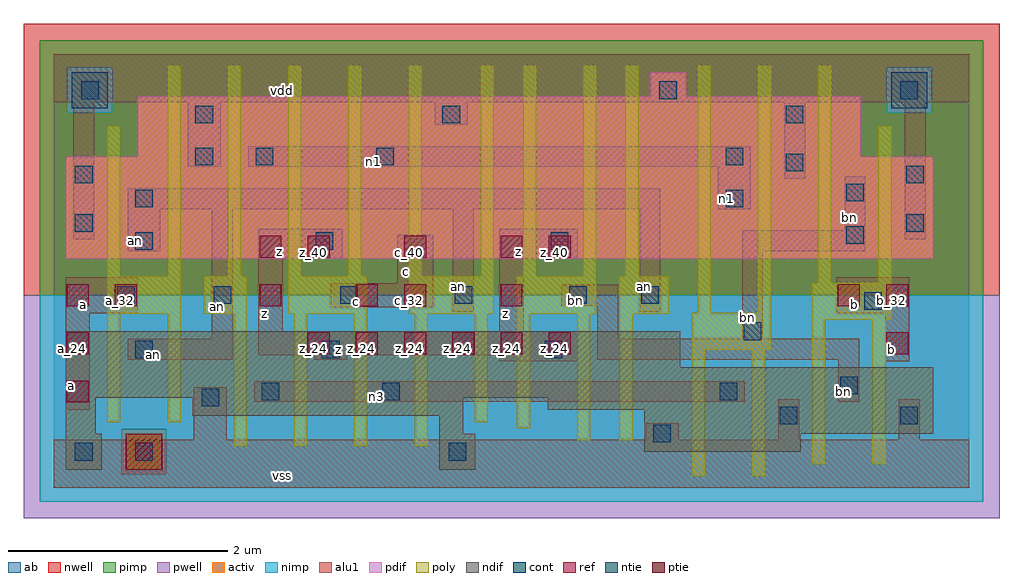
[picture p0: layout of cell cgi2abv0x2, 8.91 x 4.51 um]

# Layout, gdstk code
import gdstk
lib = gdstk.Library(unit=1e-6, precision=2.5e-09)
def R(c, l, rs):  # rectangles x0, y0, x1, y1
    for r in rs: c.add(gdstk.rectangle(r[:2], r[2:], *l))
def A(c, l, x, y, w, h, nx, ny, dx, dy):  # array of equal rectangles
    R(c, l, [(x+i*dx, y+j*dy, x+i*dx+w, y+j*dy+h) for i in range(nx) for j in range(ny)])
ndif = (3, 0)
pdif = (4, 0)
ntie = (5, 0)
ptie = (6, 0)
ref = (24, 0)
cont = (25, 0)
pwell = (41, 0)
nwell = (42, 0)
activ = (43, 0)
pimp = (44, 0)
nimp = (45, 0)
poly = (46, 0)
alu1 = (49, 0)
ab = (63, 0)

cgi2abv0x2 = lib.new_cell('cgi2abv0x2')
R(cgi2abv0x2, ndif, [(0.11,0.165,0.44,0.495), (3.52,0.165,3.85,0.495), (5.39,0.33,6.82,0.495), (0.11,0.495,0.385,0.825), (3.52,0.495,3.74,0.66), (5.39,0.495,8.03,0.715), (1.265,0.66,3.74,0.825), (4.51,0.715,8.03,0.825), (0.11,0.825,8.03,1.1), (0.11,1.1,5.72,1.43)])
R(cgi2abv0x2, pdif, [(0.11,2.09,8.03,3.025), (0.77,3.025,7.37,3.575), (5.445,3.575,5.775,3.795)])
R(cgi2abv0x2, ntie, [(0.165,3.465,0.495,3.795), (7.645,3.465,7.975,3.795)])
R(cgi2abv0x2, ptie, [(0.66,0.165,0.99,0.495)])
A(cgi2abv0x2, ref, 0.12, 0.78, 0.2, 0.2, 1, 3, 0, 0.44)
A(cgi2abv0x2, ref, 2.32, 1.22, 0.2, 0.2, 6, 1, 0.44, 0)
A(cgi2abv0x2, ref, 2.32, 2.1, 0.2, 0.2, 3, 1, 0.88, 0)
R(cgi2abv0x2, ref, [(7.6,1.22,7.8,1.42), (0.56,1.66,0.76,1.86), (1.88,1.66,2.08,1.86), (2.76,1.66,2.96,1.86), (3.2,1.66,3.4,1.86), (4.08,1.66,4.28,1.86), (7.16,1.66,7.36,1.86), (7.6,1.66,7.8,1.86), (1.88,2.1,2.08,2.3), (4.52,2.1,4.72,2.3)])
A(cgi2abv0x2, cont, 2.615, 1.68, 0.16, 0.16, 3, 1, 1.045, 0)
R(cgi2abv0x2, cont, [(0.195,0.25,0.355,0.41), (0.745,0.25,0.905,0.41), (3.605,0.25,3.765,0.41), (5.475,0.415,5.635,0.575), (6.63,0.58,6.79,0.74), (7.73,0.58,7.89,0.74), (1.35,0.745,1.51,0.905), (1.9,0.8,2.06,0.96), (3,0.8,3.16,0.96), (6.08,0.8,6.24,0.96), (7.18,0.855,7.34,1.015), (0.745,1.185,0.905,1.345), (2.45,1.185,2.61,1.345), (4.485,1.185,4.645,1.345), (6.3,1.35,6.46,1.51), (7.4,1.625,7.56,1.785), (0.58,1.68,0.74,1.84), (1.46,1.68,1.62,1.84), (5.365,1.68,5.525,1.84), (0.745,2.175,0.905,2.335), (2.395,2.175,2.555,2.335), (4.54,2.175,4.7,2.335), (7.235,2.23,7.395,2.39), (0.195,2.34,0.355,2.5), (7.785,2.34,7.945,2.5), (0.745,2.56,0.905,2.72), (6.135,2.56,6.295,2.72), (7.235,2.615,7.395,2.775), (0.195,2.78,0.355,2.94), (7.785,2.78,7.945,2.94), (6.685,2.89,6.845,3.05), (1.295,2.945,1.455,3.105), (1.845,2.945,2.005,3.105), (2.945,2.945,3.105,3.105), (6.135,2.945,6.295,3.105), (1.295,3.33,1.455,3.49), (3.55,3.33,3.71,3.49), (6.685,3.33,6.845,3.49), (0.25,3.55,0.41,3.71), (5.53,3.55,5.69,3.71), (7.73,3.55,7.89,3.71)])
R(cgi2abv0x2, pwell, [(-0.275,-0.275,8.635,1.76)])
R(cgi2abv0x2, nwell, [(-0.275,1.76,8.635,4.235)])
R(cgi2abv0x2, activ, [(0.11,0.165,0.44,0.495), (0.66,0.165,0.99,0.495), (3.52,0.165,3.85,0.495), (5.39,0.33,6.82,0.495), (0.11,0.495,0.385,0.825), (3.52,0.495,3.74,0.66), (5.39,0.495,8.03,0.715), (1.265,0.66,3.74,0.825), (4.51,0.715,8.03,0.825), (0.11,0.825,8.03,1.1), (0.11,1.1,5.72,1.43), (0.11,2.09,8.03,3.025), (0.77,3.025,7.37,3.575), (0.165,3.465,0.495,3.795), (7.645,3.465,7.975,3.795), (5.445,3.575,5.775,3.795)])
R(cgi2abv0x2, pimp, [(0.62,0.125,1.03,0.535), (-0.125,1.76,8.485,3.425), (-0.125,3.425,0.125,3.835), (0.535,3.425,7.605,3.835), (8.015,3.425,8.485,3.835), (-0.125,3.835,8.485,4.085)])
R(cgi2abv0x2, nimp, [(-0.125,-0.125,8.485,0.125), (-0.125,0.125,0.62,0.535), (1.03,0.125,8.485,0.535), (-0.125,0.535,8.485,1.76), (0.125,3.425,0.535,3.835), (7.605,3.425,8.015,3.835)])
A(cgi2abv0x2, poly, 1.645, 0.38, 0.12, 1.21, 4, 1, 0.55, 0)
A(cgi2abv0x2, poly, 1.04, 1.93, 0.12, 1.925, 5, 1, 0.55, 0)
R(cgi2abv0x2, poly, [(5.825,0.105,5.945,1.26), (6.375,0.105,6.495,1.26), (6.925,0.215,7.045,1.535), (7.475,0.215,7.595,1.535), (4.78,0.435,4.9,1.59), (5.165,0.435,5.285,1.59), (4.23,0.545,4.35,1.59), (0.49,0.6,0.61,1.59), (1.04,0.6,1.16,1.59), (3.845,0.6,3.965,1.59), (5.825,1.26,6.55,1.6), (6.925,1.535,7.65,1.875), (0.49,1.59,1.16,1.93), (1.37,1.59,1.765,1.93), (2.14,1.59,2.865,1.93), (3.24,1.59,4.02,1.93), (4.23,1.59,4.955,1.93), (5.165,1.59,5.615,1.93), (5.88,1.6,6,3.855), (6.43,1.6,6.55,3.855), (6.98,1.875,7.1,3.855), (7.53,1.875,7.65,3.305), (0.49,1.93,0.61,3.305), (3.9,1.93,4.02,3.855), (4.285,1.93,4.405,3.855), (4.835,1.93,4.955,3.855), (5.22,1.93,5.34,3.855)])
R(cgi2abv0x2, alu1, [(0,0,8.36,0.44), (1.28,0.44,1.58,0.92), (5.405,0.44,5.705,0.59), (6.615,0.44,6.805,0.81), (7.715,0.44,7.905,0.81), (0.11,0.715,0.33,1.595), (1.83,0.785,6.31,0.975), (7.165,0.785,7.355,1.17), (4.07,1.155,4.785,1.21), (7.59,1.155,7.81,1.595), (0.675,1.17,1.635,1.36), (2.38,1.17,2.68,1.21), (4.965,1.17,7.355,1.36), (1.87,1.21,4.785,1.43), (1.445,1.36,1.635,2.545), (4.965,1.36,5.155,1.665), (6.285,1.36,6.475,2.16), (1.87,1.43,2.09,2.09), (4.07,1.43,4.29,2.09), (0.11,1.595,0.77,1.925), (7.15,1.595,7.81,1.925), (3.645,1.61,3.835,2.545), (5.35,1.61,5.54,2.545), (2.53,1.65,3.465,1.87), (4.635,1.665,5.155,1.855), (3.135,1.87,3.465,2.31), (1.87,2.09,2.64,2.365), (4.07,2.09,4.785,2.365), (0.675,2.16,0.975,2.545), (6.285,2.16,7.41,2.35), (0.18,2.27,0.37,3.52), (7.77,2.27,7.96,3.52), (7.22,2.35,7.41,2.845), (0.675,2.545,5.54,2.735), (6.065,2.545,6.365,2.93), (6.67,2.82,6.86,3.52), (1.225,2.93,1.525,3.52), (1.775,2.93,6.365,3.12), (3.48,3.315,3.78,3.52), (0,3.52,8.36,3.96)])
R(cgi2abv0x2, ab, [(0,0,8.36,3.96)])
cgi2abv0x2.add(gdstk.Label('vss', (2.09,0.11), layer=49, texttype=0))
cgi2abv0x2.add(gdstk.Label('b', (7.645,1.265), layer=49, texttype=0))
cgi2abv0x2.add(gdstk.Label('bn', (7.2125,0.88), layer=49, texttype=0))
cgi2abv0x2.add(gdstk.Label('n3', (2.95,0.8325), layer=49, texttype=0))
cgi2abv0x2.add(gdstk.Label('b', (7.315,1.6775), layer=49, texttype=0))
cgi2abv0x2.add(gdstk.Label('bn', (6.3325,1.56), layer=49, texttype=0))
cgi2abv0x2.add(gdstk.Label('bn', (7.2675,2.4725), layer=49, texttype=0))
cgi2abv0x2.add(gdstk.Label('an', (5.3975,1.8425), layer=49, texttype=0))
cgi2abv0x2.add(gdstk.Label('z', (2.5975,1.265), layer=49, texttype=0))
cgi2abv0x2.add(gdstk.Label('bn', (4.765,1.7125), layer=49, texttype=0))
cgi2abv0x2.add(gdstk.Label('z', (4.125,1.595), layer=49, texttype=0))
cgi2abv0x2.add(gdstk.Label('z', (4.2475,2.1575), layer=49, texttype=0))
cgi2abv0x2.add(gdstk.Label('an', (3.6925,1.8425), layer=49, texttype=0))
cgi2abv0x2.add(gdstk.Label('c', (2.7625,1.705), layer=49, texttype=0))
cgi2abv0x2.add(gdstk.Label('c', (3.2175,1.98), layer=49, texttype=0))
cgi2abv0x2.add(gdstk.Label('z', (1.925,1.595), layer=49, texttype=0))
cgi2abv0x2.add(gdstk.Label('z', (2.0625,2.1575), layer=49, texttype=0))
cgi2abv0x2.add(gdstk.Label('an', (0.915,1.2175), layer=49, texttype=0))
cgi2abv0x2.add(gdstk.Label('an', (1.4925,1.655), layer=49, texttype=0))
cgi2abv0x2.add(gdstk.Label('a', (0.165,0.935), layer=49, texttype=0))
cgi2abv0x2.add(gdstk.Label('a', (0.275,1.6775), layer=49, texttype=0))
cgi2abv0x2.add(gdstk.Label('an', (0.75,2.255), layer=49, texttype=0))
cgi2abv0x2.add(gdstk.Label('n1', (6.14,2.64), layer=49, texttype=0))
cgi2abv0x2.add(gdstk.Label('n1', (2.9225,2.9775), layer=49, texttype=0))
cgi2abv0x2.add(gdstk.Label('vdd', (2.09,3.63), layer=49, texttype=0))
cgi2abv0x2.add(gdstk.Label('z_40', (4.57,2.15), layer=24, texttype=0))
cgi2abv0x2.add(gdstk.Label('z_24', (4.57,1.27), layer=24, texttype=0))
cgi2abv0x2.add(gdstk.Label('z_40', (4.13,2.15), layer=24, texttype=0))
cgi2abv0x2.add(gdstk.Label('z_32', (4.13,1.71), layer=24, texttype=0))
cgi2abv0x2.add(gdstk.Label('z_24', (4.13,1.27), layer=24, texttype=0))
cgi2abv0x2.add(gdstk.Label('z_24', (3.69,1.27), layer=24, texttype=0))
cgi2abv0x2.add(gdstk.Label('c_40', (3.25,2.15), layer=24, texttype=0))
cgi2abv0x2.add(gdstk.Label('c_32', (3.25,1.71), layer=24, texttype=0))
cgi2abv0x2.add(gdstk.Label('z_24', (3.25,1.27), layer=24, texttype=0))
cgi2abv0x2.add(gdstk.Label('c_32', (2.81,1.71), layer=24, texttype=0))
cgi2abv0x2.add(gdstk.Label('z_24', (2.81,1.27), layer=24, texttype=0))
cgi2abv0x2.add(gdstk.Label('z_40', (2.37,2.15), layer=24, texttype=0))
cgi2abv0x2.add(gdstk.Label('z_24', (2.37,1.27), layer=24, texttype=0))
cgi2abv0x2.add(gdstk.Label('a_32', (0.17,1.71), layer=24, texttype=0))
cgi2abv0x2.add(gdstk.Label('a_24', (0.17,1.27), layer=24, texttype=0))
cgi2abv0x2.add(gdstk.Label('a_16', (0.17,0.83), layer=24, texttype=0))
cgi2abv0x2.add(gdstk.Label('z_40', (1.93,2.15), layer=24, texttype=0))
cgi2abv0x2.add(gdstk.Label('z_32', (1.93,1.71), layer=24, texttype=0))
cgi2abv0x2.add(gdstk.Label('b_32', (7.65,1.71), layer=24, texttype=0))
cgi2abv0x2.add(gdstk.Label('b_24', (7.65,1.27), layer=24, texttype=0))
cgi2abv0x2.add(gdstk.Label('b_32', (7.21,1.71), layer=24, texttype=0))
cgi2abv0x2.add(gdstk.Label('a_32', (0.61,1.71), layer=24, texttype=0))

lib.write_gds('cgi2abv0x2.gds')
